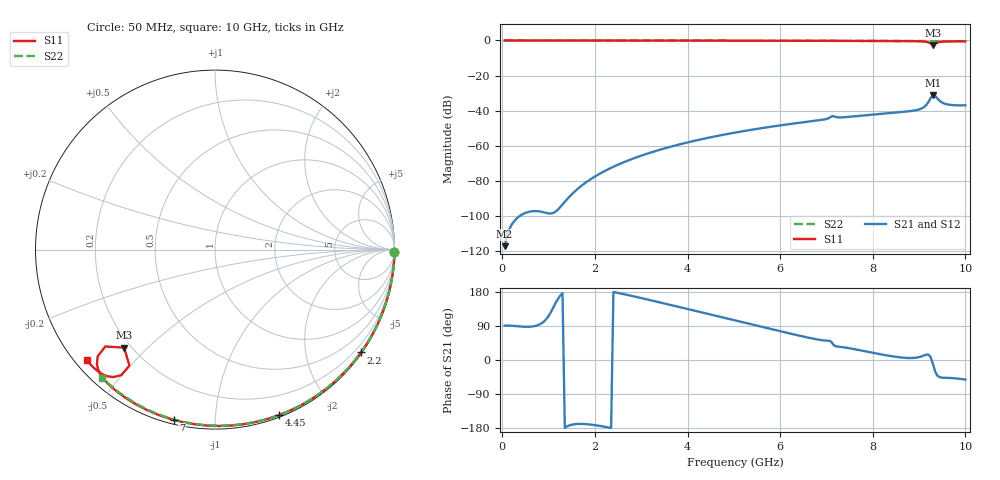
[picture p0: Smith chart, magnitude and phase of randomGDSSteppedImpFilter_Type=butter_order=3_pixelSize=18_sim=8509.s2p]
! freq	dB(S11)	phase(S11)	dB(S12)	phase(S12)
!  dB(S21)	phase(S21)	dB(S22)	phase(S22)
!S-par simulation data
#  GHz  S  DB  R 50
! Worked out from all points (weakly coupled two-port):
!   200 points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, 50 MHz to 10 GHz, reference 50 ohm
!   highest |S21| = -31.08 dB at 9.3 GHz (marker M1); lowest = -117.4 dB at 50 MHz (marker M2)
!   lowest |S11| = -2.6 dB at 9.3 GHz (marker M3), VSWR 6.85, Z = 8.66 - j21.2 ohm
!   |S11| at or under -10 dB: nowhere
!   |S22| runs from -0.4 to 0.0 dB; largest |S21 - S12| = 0
!   S11 on the Smith chart (normalised r, x): 50 MHz: open; 2.2 GHz: 0.03, -3.15; 4.45 GHz: 0.02, -1.46; 7 GHz: 0.02, -0.79; 10 GHz: 0.03, -0.37
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0.05  -0.00 -0.8  -117.39 90.6  -117.39 90.6  -0.00 -0.8
1.75  -0.04 -28.1  -82.10 -168.8  -82.10 -168.8  -0.03 -26.2
1.85  -0.04 -29.7  -80.20 -169.7  -80.20 -169.7  -0.04 -27.6
2.2  -0.04 -35.2  -74.67 -175.8  -74.67 -175.8  -0.04 -32.7
2.75  -0.06 -43.7  -68.15 170.4  -68.15 170.4  -0.05 -40.7
3.4  -0.07 -53.5  -62.39 152.1  -62.39 152.1  -0.07 -49.8
4.45  -0.10 -68.9  -55.52 121.2  -55.52 121.2  -0.09 -64.2
5.05  -0.12 -77.4  -52.46 103.5  -52.46 103.5  -0.11 -72.1
6.7  -0.19 -99.7  -46.00 56.6  -46.00 56.6  -0.18 -93.0
7  -0.21 -103.7  -44.81 51.1  -44.81 51.1  -0.20 -96.6
7.15  -0.22 -105.7  -43.13 40.0  -43.13 40.0  -0.20 -98.4
7.35  -0.23 -108.2  -43.87 34.1  -43.87 34.1  -0.21 -100.8
8.35  -0.32 -121.4  -41.47 11.1  -41.47 11.1  -0.29 -112.6
9.05  -0.52 -132.8  -38.87 9.5  -38.87 9.5  -0.35 -120.6
9.15  -0.75 -135.8  -37.00 14.1  -37.00 14.1  -0.36 -121.7
9.2  -1.06 -137.7  -35.23 14.4  -35.23 14.4  -0.36 -122.3
9.25  -1.77 -138.5  -32.84 7.9  -32.84 7.9  -0.37 -122.8
9.3  -2.56 -132.9  -31.08 -11.0  -31.08 -11.0  -0.36 -123.4
9.35  -1.91 -126.4  -31.70 -31.6  -31.70 -31.6  -0.36 -124.0
9.45  -0.84 -128.5  -34.59 -45.6  -34.59 -45.6  -0.38 -125.1
9.65  -0.54 -133.6  -36.68 -47.3  -36.68 -47.3  -0.40 -127.4
10  -0.50 -139.3  -37.02 -51.6  -37.02 -51.6  -0.44 -131.3
